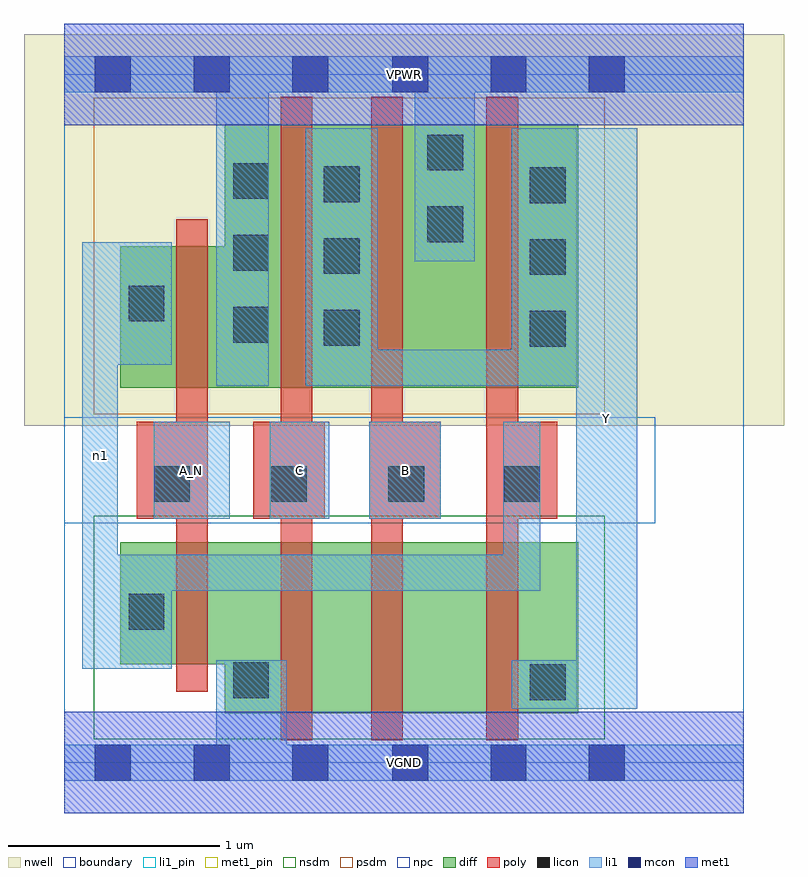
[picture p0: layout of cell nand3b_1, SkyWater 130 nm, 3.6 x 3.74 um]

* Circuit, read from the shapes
.subckt nand3b_1 A_N B C VGND VPWR Y n1
XM1 VGND A_N n1 VSUBS sky130_fd_pr__nfet_01v8 w=0.58 l=0.15
XM2 n2 C VGND VSUBS sky130_fd_pr__nfet_01v8 w=0.81 l=0.15
XM3 n3 B n2 VSUBS sky130_fd_pr__nfet_01v8 w=0.81 l=0.15
XM4 Y n1 n3 VSUBS sky130_fd_pr__nfet_01v8 w=0.81 l=0.15
XM5 VPWR A_N n1 n4 sky130_fd_pr__pfet_01v8 w=0.67 l=0.15
XM6 Y C VPWR n4 sky130_fd_pr__pfet_01v8 w=1.25 l=0.15
XM7 VPWR B Y n4 sky130_fd_pr__pfet_01v8 w=1.25 l=0.15
XM8 Y n1 VPWR n4 sky130_fd_pr__pfet_01v8 w=1.25 l=0.15
.ends

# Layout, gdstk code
import gdstk
lib = gdstk.Library(unit=1e-6, precision=1e-09)
def R(c, l, rs):  # rectangles x0, y0, x1, y1
    for r in rs: c.add(gdstk.rectangle(r[:2], r[2:], *l))
def A(c, l, x, y, w, h, nx, ny, dx, dy):  # array of equal rectangles
    R(c, l, [(x+i*dx, y+j*dy, x+i*dx+w, y+j*dy+h) for i in range(nx) for j in range(ny)])
nwell = (64, 20)
diff = (65, 20)
poly = (66, 20)
licon = (66, 44)
li1_pin = (67, 16)
li1 = (67, 20)
mcon = (67, 44)
met1_pin = (68, 16)
met1 = (68, 20)
nsdm = (93, 44)
psdm = (94, 20)
npc = (95, 20)
boundary = (235, 4)

nand3b_1 = lib.new_cell('nand3b_1')
R(nand3b_1, nwell, [(-0.19,1.595,3.41,3.45), (0,1.595,3.22,3.45)])
R(nand3b_1, diff, [(0.76,0.235,2.435,1.045), (0.265,0.465,2.435,1.045), (0.265,1.775,2.435,2.445), (0.76,1.775,2.435,3.025)])
R(nand3b_1, poly, [(1.025,0.105,1.175,3.155), (1.455,0.105,1.605,3.155), (2,0.105,2.15,3.155), (0.53,0.335,0.68,2.575), (0.345,1.155,0.68,1.615), (0.895,1.155,1.235,1.615), (1.445,1.155,1.785,1.615), (2,1.155,2.335,1.615)])
A(nand3b_1, licon, 0.425, 1.235, 0.17, 0.17, 3, 1, 0.555, 0)
A(nand3b_1, licon, 2.205, 1.97, 0.17, 0.17, 1, 3, 0, 0.34)
A(nand3b_1, licon, 1.23, 1.975, 0.17, 0.17, 1, 3, 0, 0.34)
A(nand3b_1, licon, 0.8, 1.99, 0.17, 0.17, 1, 3, 0, 0.34)
R(nand3b_1, licon, [(2.205,0.295,2.375,0.465), (0.8,0.305,0.97,0.475), (0.305,0.63,0.475,0.8), (2.085,1.235,2.255,1.405), (0.305,2.09,0.475,2.26), (1.72,2.465,1.89,2.635), (1.72,2.805,1.89,2.975)])
R(nand3b_1, li1_pin, [(2.425,0.255,2.715,3.005), (0.425,1.155,0.785,1.615), (0.975,1.155,1.255,1.615), (1.445,1.155,1.785,1.615)])
R(nand3b_1, li1, [(0,-0.085,3.22,0.085), (0.72,-0.085,1.055,0.485), (2.12,0.255,2.715,0.485), (2.425,0.255,2.715,3.005), (0.085,0.445,0.255,2.465), (0.085,0.445,0.51,0.985), (0.085,0.815,2.255,0.985), (2.08,0.815,2.255,1.615), (0.425,1.155,0.785,1.615), (0.975,1.155,1.255,1.615), (1.445,1.155,1.785,1.615), (0.72,1.785,0.97,3.345), (1.145,1.785,1.485,3.005), (1.145,1.785,2.715,1.955), (2.12,1.785,2.425,3.005), (0.085,1.885,0.51,2.465), (1.66,2.375,1.945,3.345), (0,3.175,3.22,3.345)])
A(nand3b_1, mcon, 1.555, -0.085, 0.17, 0.17, 3, 2, 0.465, 3.26)
R(nand3b_1, mcon, [(0.145,-0.085,0.315,0.085), (0.615,-0.085,0.785,0.085), (1.08,-0.085,1.25,0.085), (0.145,3.175,0.315,3.345), (0.615,3.175,0.785,3.345), (1.08,3.175,1.25,3.345)])
R(nand3b_1, met1_pin, [(0,-0.24,3.22,0.24), (0,3.02,3.22,3.5)])
R(nand3b_1, met1, [(0,-0.24,3.22,0.24), (0,3.02,3.22,3.5)])
R(nand3b_1, nsdm, [(0.14,0.11,2.56,1.17)])
R(nand3b_1, psdm, [(0.14,1.65,2.56,3.15)])
R(nand3b_1, npc, [(0,1.135,2.8,1.635)])
R(nand3b_1, boundary, [(0,0,3.22,3.26)])
nand3b_1.add(gdstk.Label('A_N', (0.605,1.385), layer=67, texttype=5))
nand3b_1.add(gdstk.Label('B', (1.615,1.385), layer=67, texttype=5))
nand3b_1.add(gdstk.Label('C', (1.115,1.385), layer=67, texttype=5))
nand3b_1.add(gdstk.Label('Y', (2.57,1.63), layer=67, texttype=5))
nand3b_1.add(gdstk.Label('n1', (0.17,1.455), layer=67, texttype=5))
nand3b_1.add(gdstk.Label('VPWR', (1.61,3.26), layer=68, texttype=5))
nand3b_1.add(gdstk.Label('VGND', (1.61,0), layer=68, texttype=5))
nand3b_1.add(gdstk.Label('A_N', (0.605,1.385), layer=67, texttype=16))
nand3b_1.add(gdstk.Label('B', (1.615,1.385), layer=67, texttype=16))
nand3b_1.add(gdstk.Label('C', (1.115,1.385), layer=67, texttype=16))
nand3b_1.add(gdstk.Label('Y', (2.57,1.63), layer=67, texttype=16))
nand3b_1.add(gdstk.Label('VPWR', (1.61,3.26), layer=68, texttype=16))
nand3b_1.add(gdstk.Label('VGND', (1.61,0), layer=68, texttype=16))

lib.write_gds('nand3b_1.gds')
